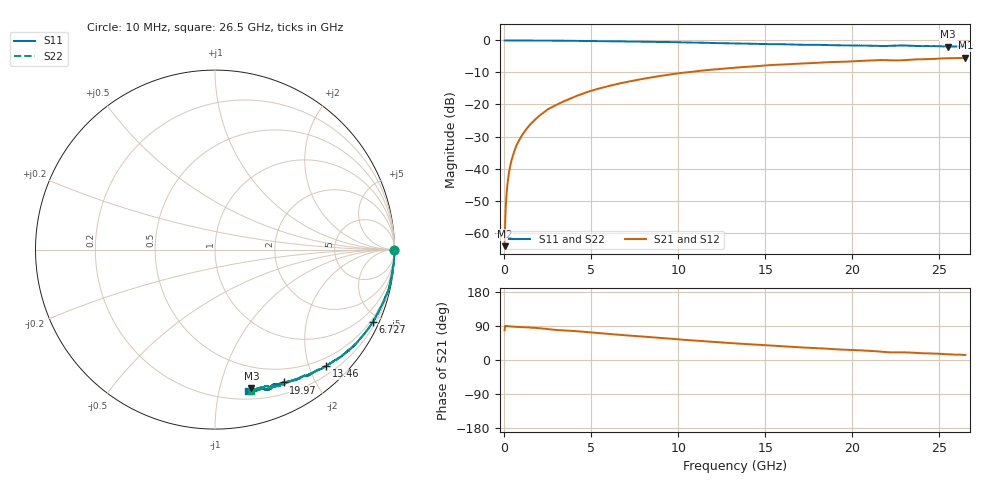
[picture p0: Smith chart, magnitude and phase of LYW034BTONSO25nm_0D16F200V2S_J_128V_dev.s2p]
!Keysight Technologies,N5222B,MY61253708,A.15.00.15
!Date: Wednesday, June 19, 2024 09:55:13
!Correction: S11(C  2-Port  )
!S21(C  2-Port  )
!S12(C  2-Port  )
!S22(C  2-Port  )
!S2P File: Measurements: S11, S21, S12, S22:
# Hz S  RI  R 50
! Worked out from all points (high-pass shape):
!   2651 points, 10 MHz to 26.5 GHz, reference 50 ohm
!   highest |S21| = -5.39 dB at 26.5 GHz (marker M1); lowest = -64.3 dB at 10 MHz (marker M2)
!   |S21| within 3 dB of the highest: 13.52 GHz to end of sweep
!   lowest |S11| = -1.9 dB at 25.5 GHz (marker M3), VSWR 8.97, Z = 14.6 - j62.7 ohm
!   |S11| at or under -10 dB: nowhere
!   |S22| runs from -1.9 to 0.0 dB; largest |S21 - S12| = 0.0062
!   S11 on the Smith chart (normalised r, x): 10 MHz: open; 6.727 GHz: 0.36, -4.55; 13.46 GHz: 0.34, -2.29; 19.97 GHz: 0.33, -1.59; 26.5 GHz: 0.27, -1.22
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1e7  0.9986 -0.00249  0.000122 0.0006  0.000392 0.000666  0.9988 -0.00126
7.997358e7  0.9999 -0.00574  1.82e-05 0.00266  -3.5e-06 0.00262  0.9994 -0.00521
1.799358e8  0.9999 -0.012  7.28e-05 0.0059  7.31e-05 0.00597  0.9996 -0.0114
2.29917e8  0.9997 -0.0159  0.00012 0.00761  9.24e-05 0.00765  0.9994 -0.0148
2.998906e8  0.9997 -0.0204  0.000204 0.00992  0.000181 0.00995  0.9995 -0.0193
4.098491e8  0.9992 -0.0278  0.000382 0.0135  0.000382 0.0135  0.9994 -0.0266
5.497962e8  0.9989 -0.0368  0.000657 0.0181  0.000648 0.0182  0.9986 -0.0353
9.096604e8  0.9976 -0.0606  0.00168 0.0297  0.00168 0.0299  0.9973 -0.0591
1.509434e9  0.9905 -0.1007  0.00417 0.0496  0.00417 0.0497  0.9933 -0.0973
2.379106e9  0.9819 -0.1547  0.0105 0.0792  0.0108 0.0796  0.9833 -0.154
3.26877e9  0.9702 -0.2109  0.0216 0.1052  0.0218 0.1058  0.9705 -0.2094
4.428332e9  0.9429 -0.2798  0.038 0.1408  0.0384 0.1416  0.9454 -0.2757
6.727464e9  0.8793 -0.4032  0.0879 0.1976  0.0891 0.1982  0.8819 -0.4006
8.846664e9  0.8043 -0.5015  0.1437 0.236  0.1452 0.2365  0.8076 -0.4978
1.3255e10  0.6287 -0.642  0.2705 0.2609  0.2727 0.2605  0.6355 -0.6385
1.346492e10  0.62 -0.6499  0.2768 0.2609  0.2784 0.2595  0.6254 -0.6435
1.767333e10  0.4569 -0.7219  0.3769 0.2338  0.3801 0.232  0.4712 -0.7181
1.997246e10  0.3826 -0.7402  0.4216 0.2098  0.4242 0.207  0.3999 -0.7378
2.209166e10  0.3212 -0.7552  0.46 0.1724  0.4615 0.1691  0.3198 -0.7609
2.308129e10  0.2928 -0.7827  0.4648 0.1684  0.4656 0.1671  0.2972 -0.7637
2.550038e10  0.2024 -0.7734  0.5095 0.1361  0.5106 0.1351  0.2269 -0.7764
2.65e10  0.1828 -0.7871  0.5229 0.1247  0.5222 0.1206  0.2004 -0.7861
